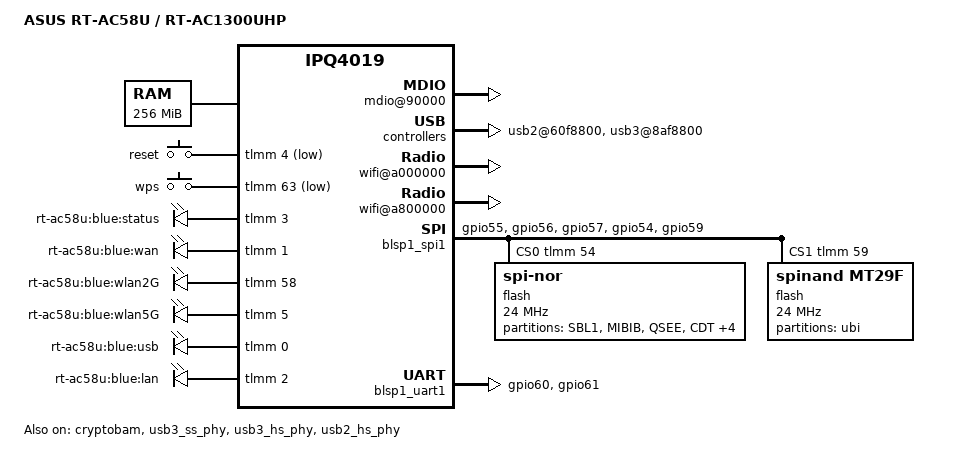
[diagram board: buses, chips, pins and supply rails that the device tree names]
// SPDX-License-Identifier: GPL-2.0-or-later OR MIT

#include "qcom-ipq4019.dtsi"
#include <dt-bindings/gpio/gpio.h>
#include <dt-bindings/input/input.h>
#include <dt-bindings/soc/qcom,tcsr.h>

/ {
	model = "ASUS RT-AC58U / RT-AC1300UHP";
	compatible = "asus,rt-ac58u", "qcom,ipq4019";

	memory {
		device_type = "memory";
		reg = <0x80000000 0x10000000>;
	};

	aliases {
		led-boot = &power;
		led-failsafe = &power;
		led-running = &power;
		led-upgrade = &power;
	};

	chosen {
		bootargs-append = " ubi.mtd=UBI_DEV";
	};

	soc {
		mdio@90000 {
			status = "okay";
		};

		ess-psgmii@98000 {
			status = "okay";
		};

		tcsr@1949000 {
			compatible = "qcom,tcsr";
			reg = <0x1949000 0x100>;
			qcom,wifi_glb_cfg = <TCSR_WIFI_GLB_CFG>;
		};

		tcsr@194b000 {
			compatible = "qcom,tcsr";
			reg = <0x194b000 0x100>;
			qcom,usb-hsphy-mode-select = <TCSR_USB_HSPHY_HOST_MODE>;
		};

		ess_tcsr@1953000 {
			compatible = "qcom,tcsr";
			reg = <0x1953000 0x1000>;
			qcom,ess-interface-select = <TCSR_ESS_PSGMII>;
		};

		tcsr@1957000 {
			compatible = "qcom,tcsr";
			reg = <0x1957000 0x100>;
			qcom,wifi_noc_memtype_m0_m2 = <TCSR_WIFI_NOC_MEMTYPE_M0_M2>;
		};

		usb2@60f8800 {
			status = "okay";

			dwc3@6000000 {
				#address-cells = <1>;
				#size-cells = <0>;

				usb2_port1: port@1 {
					reg = <1>;
					#trigger-source-cells = <0>;
				};
			};
		};

		usb3@8af8800 {
			status = "okay";

			dwc3@8a00000 {
				#address-cells = <1>;
				#size-cells = <0>;

				usb3_port1: port@1 {
					reg = <1>;
					#trigger-source-cells = <0>;
				};

				usb3_port2: port@2 {
					reg = <2>;
					#trigger-source-cells = <0>;
				};
			};
		};

		crypto@8e3a000 {
			status = "okay";
		};

		wifi@a000000 {
			status = "okay";
			qcom,ath10k-calibration-variant = "RT-AC58U";
		};

		wifi@a800000 {
			status = "okay";
			qcom,ath10k-calibration-variant = "RT-AC58U";
		};

		watchdog@b017000 {
			status = "okay";
		};

		ess-switch@c000000 {
			status = "okay";
		};

		edma@c080000 {
			status = "okay";
		};
	};

	keys {
		compatible = "gpio-keys";

		reset {
			label = "reset";
			gpios = <&tlmm 4 GPIO_ACTIVE_LOW>;
			linux,code = <KEY_RESTART>;
		};

		wps {
			label = "wps";
			gpios = <&tlmm 63 GPIO_ACTIVE_LOW>;
			linux,code = <KEY_WPS_BUTTON>;
		};
	};

	leds {
		compatible = "gpio-leds";

		power: status {
			label = "rt-ac58u:blue:status";
			gpios = <&tlmm 3 GPIO_ACTIVE_HIGH>;
		};

		wan {
			label = "rt-ac58u:blue:wan";
			gpios = <&tlmm 1 GPIO_ACTIVE_HIGH>;
		};

		wlan2G {
			label = "rt-ac58u:blue:wlan2G";
			gpios = <&tlmm 58 GPIO_ACTIVE_HIGH>;
		};

		wan5G {
			label = "rt-ac58u:blue:wlan5G";
			gpios = <&tlmm 5 GPIO_ACTIVE_HIGH>;
		};

		usb {
			label = "rt-ac58u:blue:usb";
			gpios = <&tlmm 0 GPIO_ACTIVE_HIGH>;
			trigger-sources = <&usb3_port1>, <&usb3_port2>, <&usb2_port1>;
			linux,default-trigger = "usbport";
		};

		lan {
			label = "rt-ac58u:blue:lan";
			gpios = <&tlmm 2 GPIO_ACTIVE_HIGH>;
		};
	};
};

&cryptobam {
	status = "okay";
};

&blsp_dma {
	status = "okay";
};

&tlmm {
	serial_pins: serial_pinmux {
		mux {
			pins = "gpio60", "gpio61";
			function = "blsp_uart0";
			bias-disable;
		};
	};

	spi_0_pins: spi_0_pinmux {
		mux {
			function = "blsp_spi0";
			pins = "gpio55", "gpio56", "gpio57";
			drive-strength = <12>;
			bias-disable;
		};

		mux_cs {
			function = "gpio";
			pins = "gpio54", "gpio59";
			drive-strength = <2>;
			bias-disable;
			output-high;
		};
	};
};

&blsp1_spi1 { /* BLSP1 QUP1 */
	pinctrl-0 = <&spi_0_pins>;
	pinctrl-names = "default";
	status = "okay";
	cs-gpios = <&tlmm 54 GPIO_ACTIVE_HIGH>,
		   <&tlmm 59 GPIO_ACTIVE_HIGH>;

	flash@0 {
		#address-cells = <1>;
		#size-cells = <0>;
		/*
		 * U-boot looks for "n25q128a11" node,
		 * if we don't have it, it will spit out the following warning:
		 * "ipq: fdt fixup unable to find compatible node".
		 */
		compatible = "jedec,spi-nor";
		reg = <0>;
		linux,modalias = "m25p80", "mx25l1606e", "n25q128a11";
		spi-max-frequency = <24000000>;

		partitions {
			compatible = "fixed-partitions";
			#address-cells = <1>;
			#size-cells = <1>;

			partition0@0 {
				label = "SBL1";
				reg = <0x00000000 0x00040000>;
				read-only;
			};
			partition1@40000 {
				label = "MIBIB";
				reg = <0x00040000 0x00020000>;
				read-only;
			};
			partition2@60000 {
				label = "QSEE";
				reg = <0x00060000 0x00060000>;
				read-only;
			};
			partition3@c0000 {
				label = "CDT";
				reg = <0x000c0000 0x00010000>;
				read-only;
			};
			partition4@d0000 {
				label = "DDRPARAMS";
				reg = <0x000d0000 0x00010000>;
				read-only;
			};
			partition5@e0000 {
				label = "APPSBLENV"; /* uboot env*/
				reg = <0x000e0000 0x00010000>;
				read-only;
			};
			partition5@f0000 {
				label = "APPSBL"; /* uboot */
				reg = <0x000f0000 0x00080000>;
				read-only;
			};
			partition5@170000 {
				label = "ART";
				reg = <0x00170000 0x00010000>;
				read-only;
			};
			/* 0x00180000 - 0x00200000 unused */
		};
	};

	flash@1 {
		#address-cells = <1>;
		#size-cells = <0>;
		compatible = "spinand,mt29f";
		reg = <1>;
		spi-max-frequency = <24000000>;

		/*
		 * U-boot looks for "spinand,mt29f" node,
		 * if we don't have it, it will spit out the following warning:
		 * "ipq: fdt fixup unable to find compatible node".
		 */

		partitions {
			compatible = "fixed-partitions";
			#address-cells = <1>;
			#size-cells = <1>;

			partition@0 {
				label = "ubi";
				reg = <0x00000000 0x08000000>;
			};
		};
	};
};

&blsp1_uart1 {
	pinctrl-0 = <&serial_pins>;
	pinctrl-names = "default";
	status = "okay";
};

&usb3_ss_phy {
	status = "okay";
};

&usb3_hs_phy {
	status = "okay";
};

&usb2_hs_phy {
	status = "okay";
};
